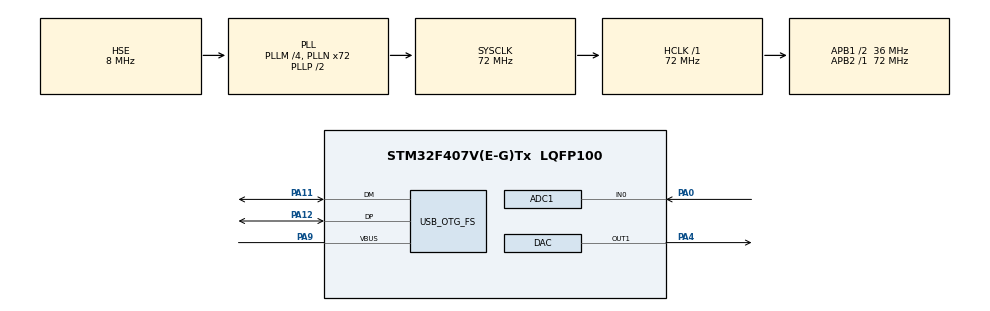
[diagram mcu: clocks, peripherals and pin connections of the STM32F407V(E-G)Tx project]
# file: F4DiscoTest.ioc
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ADC1.Channel-0\#ChannelRegularConversion=ADC_CHANNEL_0
ADC1.ClockPrescaler=ADC_CLOCK_SYNC_PCLK_DIV8
ADC1.ContinuousConvMode=DISABLE
ADC1.DMAContinuousRequests=ENABLE
ADC1.EOCSelection=ADC_EOC_SEQ_CONV
ADC1.ExternalTrigConv=ADC_EXTERNALTRIGCONV_T8_TRGO
ADC1.NbrOfConversion=1
ADC1.NbrOfConversionFlag=1
ADC1.Rank-0\#ChannelRegularConversion=1
ADC1.SamplingTime-0\#ChannelRegularConversion=ADC_SAMPLETIME_3CYCLES
ADC1.master=1
Dma.ADC1.0.Direction=DMA_PERIPH_TO_MEMORY
Dma.ADC1.0.FIFOMode=DMA_FIFOMODE_DISABLE
Dma.ADC1.0.Instance=DMA2_Stream0
Dma.ADC1.0.MemDataAlignment=DMA_MDATAALIGN_HALFWORD
Dma.ADC1.0.MemInc=DMA_MINC_ENABLE
Dma.ADC1.0.Mode=DMA_CIRCULAR
Dma.ADC1.0.PeriphDataAlignment=DMA_PDATAALIGN_HALFWORD
Dma.ADC1.0.PeriphInc=DMA_PINC_DISABLE
Dma.ADC1.0.Priority=DMA_PRIORITY_LOW
Dma.Request0=ADC1
Mcu.Family=STM32F4
Mcu.Name=STM32F407V(E-G)Tx
Mcu.Package=LQFP100
Mcu.UserConstants=USER_ADC_BUFFER_SIZE,100;USE_LL_DRIVER,1
NVIC.DMA2_Stream0_IRQn=true\:0\:0\:false\:false\:true\:false\:true
NVIC.OTG_FS_IRQn=true\:0\:0\:false\:false\:true\:true\:true
NVIC.PriorityGroup=NVIC_PRIORITYGROUP_0
NVIC.TIM7_IRQn=true\:0\:0\:false\:false\:true\:true\:true
PA0-WKUP.Signal=ADCx_IN0
PA11.Mode=Device_Only
PA11.Signal=USB_OTG_FS_DM
PA12.Mode=Device_Only
PA12.Signal=USB_OTG_FS_DP
PA13.Mode=Trace_Asynchronous_SW
PA13.Signal=SYS_JTMS-SWDIO
PA14.Mode=Trace_Asynchronous_SW
PA14.Signal=SYS_JTCK-SWCLK
PA4.Signal=COMP_DAC1_group
PA9.Mode=Activate_VBUS
PA9.Signal=USB_OTG_FS_VBUS
PB3.Mode=Trace_Asynchronous_SW
PB3.Signal=SYS_JTDO-SWO
PH0-OSC_IN.Mode=HSE-External-Oscillator
PH0-OSC_IN.Signal=RCC_OSC_IN
PH1-OSC_OUT.Mode=HSE-External-Oscillator
PH1-OSC_OUT.Signal=RCC_OSC_OUT
ProjectManager.HeapSize=0x1000
ProjectManager.StackSize=0x1000
ProjectManager.TargetToolchain=MDK-ARM V5
RCC.48MHZClocksFreq_Value=48000000
RCC.AHBFreq_Value=72000000
RCC.APB1CLKDivider=RCC_HCLK_DIV2
RCC.APB1Freq_Value=36000000
RCC.APB1TimFreq_Value=72000000
RCC.APB2Freq_Value=72000000
RCC.APB2TimFreq_Value=72000000
RCC.CortexFreq_Value=72000000
RCC.HCLKFreq_Value=72000000
RCC.HSE_VALUE=8000000
RCC.HSI_VALUE=16000000
RCC.LSE_VALUE=32768
RCC.PLLM=4
RCC.PLLN=72
RCC.PLLQ=3
RCC.SYSCLKFreq_VALUE=72000000
RCC.SYSCLKSource=RCC_SYSCLKSOURCE_PLLCLK
RCC.VCOOutputFreq_Value=144000000
SH.ADCx_IN0.0=ADC1_IN0,IN0
SH.COMP_DAC1_group.0=DAC_OUT1,DAC_OUT1
TIM7.AutoReloadPreload=TIM_AUTORELOAD_PRELOAD_ENABLE
TIM7.Period=10000
TIM7.Prescaler=7200
TIM8.AutoReloadPreload=TIM_AUTORELOAD_PRELOAD_ENABLE
TIM8.Period=100
TIM8.Prescaler=72
TIM8.TIM_MasterOutputTrigger=TIM_TRGO_UPDATE
USB_DEVICE.CLASS_NAME_FS=CDC
USB_DEVICE.USBD_DEBUG_LEVEL-CDC_FS=3
USB_DEVICE.VirtualMode-CDC_FS=Cdc
USB_DEVICE.VirtualModeFS=Cdc_FS
USB_OTG_FS.VirtualMode=Device_Only
VP_TIM7_VS_ClockSourceINT.Mode=Enable_Timer
VP_TIM8_VS_ClockSourceINT.Mode=Internal
VP_USB_DEVICE_VS_USB_DEVICE_CDC_FS.Mode=CDC_FS
board=STM32F4DISCOVERY

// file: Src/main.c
/* USER CODE BEGIN Header */
/**
  ******************************************************************************
  * @file           : main.c
  * @brief          : Main program body
  ******************************************************************************
  * @attention
  *
  * <h2><center>&copy; Copyright (c) 2019 STMicroelectronics.
  * All rights reserved.</center></h2>
  *
  * This software component is licensed by ST under Ultimate Liberty license
  * SLA0044, the "License"; You may not use this file except in compliance with
  * the License. You may obtain a copy of the License at:
  *                             www.st.com/SLA0044
  *
  ******************************************************************************
  */
/* USER CODE END Header */

#include "main.h"
#include "usb_device.h"

/* USER CODE BEGIN Includes */
#include <ctype.h>
#include <stdio.h>

#include "usbd_cdc_if.h"

#ifdef USE_LL_DRIVER
#include "stm32f4xx_ll_adc.h"
#include "stm32f4xx_ll_dac.h"
#endif
/* USER CODE END Includes */

/* USER CODE BEGIN PD */
#ifndef USER_ADC_BUFFER_SIZE
#error  USER_ADC_BUFFER_SIZE macro is not defined in STM32CubeMX project file
#endif
/* USER CODE END PD */

ADC_HandleTypeDef hadc1;
DMA_HandleTypeDef hdma_adc1;

DAC_HandleTypeDef hdac;

TIM_HandleTypeDef htim7;
TIM_HandleTypeDef htim8;

/* USER CODE BEGIN PV */

/** Значения АЦП (два буфера ПДП) */
static uint16_t USER_ADC_Buffer[2 * USER_ADC_BUFFER_SIZE];

/** Накопленная сумма вторичного усреднения */
static uint32_t USER_ADC_Summa = 0;

/** Количество значений вторичного усреднения */
static uint32_t USER_ADC_Count = 0;

/* USER CODE END PV */

void SystemClock_Config(void);
static void MX_GPIO_Init(void);
static void MX_DMA_Init(void);
static void MX_ADC1_Init(void);
static void MX_DAC_Init(void);
static void MX_TIM7_Init(void);
static void MX_TIM8_Init(void);
/* USER CODE BEGIN PFP */
#ifdef USE_LL_DRIVER
static void USER_DMAConvCplt(DMA_HandleTypeDef *hdma);
static void USER_DMAHalfConvCplt(DMA_HandleTypeDef *hdma);
#endif
/* USER CODE END PFP */

/**
  * @brief  Основная функция программы
  * @retval Без возврата
  */
int main(void)
{

  /* MCU Configuration--------------------------------------------------------*/

  /* Reset of all peripherals, Initializes the Flash interface and the Systick. */
  HAL_Init();

  /* Configure the system clock */
  SystemClock_Config();

  /* Initialize all configured peripherals */
  MX_GPIO_Init();
  MX_DMA_Init();
  MX_USB_DEVICE_Init();
  MX_ADC1_Init();
  MX_DAC_Init();
  MX_TIM7_Init();
  MX_TIM8_Init();
  /* USER CODE BEGIN 2 */
#ifdef USE_LL_DRIVER
	/* Запуск работы АЦП и ЦАП с использованием функций нижнего уровня */

  /* Enable the ADC peripheral */
	LL_ADC_Enable(ADC1);

  /* Enable ADC DMA mode */
	LL_ADC_REG_SetDMATransfer(ADC1, LL_ADC_REG_DMA_TRANSFER_UNLIMITED);

  /* Delay for ADC stabilization time */
  HAL_Delay(1);

  /* Set the DMA transfer complete callback */
  hdma_adc1.XferCpltCallback = USER_DMAConvCplt;

  /* Set the DMA half transfer complete callback */
  hdma_adc1.XferHalfCpltCallback = USER_DMAHalfConvCplt;

  /* Start the DMA channel for regular ADC channel with double-sized buffer */
  HAL_DMA_Start_IT(&hdma_adc1, LL_ADC_DMA_GetRegAddr(ADC1, LL_ADC_DMA_REG_REGULAR_DATA), (uint32_t)USER_ADC_Buffer, 2 * USER_ADC_BUFFER_SIZE);

  /* Enable the DAC peripheral */
	LL_DAC_Enable(DAC1, DAC_CHANNEL_1);

	fprintf(stderr, "ADC1 channel 0 and DAC1 channel 1, started via LL\r\n");
#else
	/* Запуск работы АЦП и ЦАП с использованием функций уровня абстракции периферии */

  HAL_ADC_Start_DMA(&hadc1, (uint32_t *)USER_ADC_Buffer, 2 * USER_ADC_BUFFER_SIZE);
	HAL_DAC_Start(&hdac, DAC_CHANNEL_1);

	fprintf(stderr, "ADC1 Channel 0 and DAC1 channel 1, started via HAL\r\n");
#endif
  /* USER CODE END 2 */

  /* Infinite loop */
  /* USER CODE BEGIN WHILE */

	/* Включаем генерацию запросов преобразования */
  HAL_TIM_Base_Start(&htim8);

  /* Ждем окончания первого вторичного усреднения */
  HAL_Delay(1000);

  /* Включаем периодический вывод на консоль */
  HAL_TIM_Base_Start_IT(&htim7);

  while (1)
  {
    /* USER CODE END WHILE */

    /* USER CODE BEGIN 3 */
    HAL_Delay(5000); // Ждем 5 секунд, т.к. больше все-равно нечего делать.
  }
  /* USER CODE END 3 */
}

void SystemClock_Config(void)
{
  RCC_OscInitTypeDef RCC_OscInitStruct = {0};
  RCC_ClkInitTypeDef RCC_ClkInitStruct = {0};

  /** Configure the main internal regulator output voltage
  */
  __HAL_RCC_PWR_CLK_ENABLE();
  __HAL_PWR_VOLTAGESCALING_CONFIG(PWR_REGULATOR_VOLTAGE_SCALE1);
  /** Initializes the CPU, AHB and APB busses clocks
  */
  RCC_OscInitStruct.OscillatorType = RCC_OSCILLATORTYPE_HSE;
  RCC_OscInitStruct.HSEState = RCC_HSE_ON;
  RCC_OscInitStruct.PLL.PLLState = RCC_PLL_ON;
  RCC_OscInitStruct.PLL.PLLSource = RCC_PLLSOURCE_HSE;
  RCC_OscInitStruct.PLL.PLLM = 4;
  RCC_OscInitStruct.PLL.PLLN = 72;
  RCC_OscInitStruct.PLL.PLLP = RCC_PLLP_DIV2;
  RCC_OscInitStruct.PLL.PLLQ = 3;
  if (HAL_RCC_OscConfig(&RCC_OscInitStruct) != HAL_OK)
  {
    Error_Handler();
  }
  /** Initializes the CPU, AHB and APB busses clocks
  */
  RCC_ClkInitStruct.ClockType = RCC_CLOCKTYPE_HCLK|RCC_CLOCKTYPE_SYSCLK
                              |RCC_CLOCKTYPE_PCLK1|RCC_CLOCKTYPE_PCLK2;
  RCC_ClkInitStruct.SYSCLKSource = RCC_SYSCLKSOURCE_PLLCLK;
  RCC_ClkInitStruct.AHBCLKDivider = RCC_SYSCLK_DIV1;
  RCC_ClkInitStruct.APB1CLKDivider = RCC_HCLK_DIV2;
  RCC_ClkInitStruct.APB2CLKDivider = RCC_HCLK_DIV1;

  if (HAL_RCC_ClockConfig(&RCC_ClkInitStruct, FLASH_LATENCY_2) != HAL_OK)
  {
    Error_Handler();
  }
}

static void MX_ADC1_Init(void)
{

  ADC_ChannelConfTypeDef sConfig = {0};

  /** Configure the global features of the ADC (Clock, Resolution, Data Alignment and number of conversion)
  */
  hadc1.Instance = ADC1;
  hadc1.Init.ClockPrescaler = ADC_CLOCK_SYNC_PCLK_DIV8;
  hadc1.Init.Resolution = ADC_RESOLUTION_12B;
  hadc1.Init.ScanConvMode = DISABLE;
  hadc1.Init.ContinuousConvMode = DISABLE;
  hadc1.Init.DiscontinuousConvMode = DISABLE;
  hadc1.Init.ExternalTrigConvEdge = ADC_EXTERNALTRIGCONVEDGE_RISING;
  hadc1.Init.ExternalTrigConv = ADC_EXTERNALTRIGCONV_T8_TRGO;
  hadc1.Init.DataAlign = ADC_DATAALIGN_RIGHT;
  hadc1.Init.NbrOfConversion = 1;
  hadc1.Init.DMAContinuousRequests = ENABLE;
  hadc1.Init.EOCSelection = ADC_EOC_SEQ_CONV;
  if (HAL_ADC_Init(&hadc1) != HAL_OK)
  {
    Error_Handler();
  }
  /** Configure for the selected ADC regular channel its corresponding rank in the sequencer and its sample time.
  */
  sConfig.Channel = ADC_CHANNEL_0;
  sConfig.Rank = 1;
  sConfig.SamplingTime = ADC_SAMPLETIME_3CYCLES;
  if (HAL_ADC_ConfigChannel(&hadc1, &sConfig) != HAL_OK)
  {
    Error_Handler();
  }

}

static void MX_DAC_Init(void)
{

  DAC_ChannelConfTypeDef sConfig = {0};

  /** DAC Initialization
  */
  hdac.Instance = DAC;
  if (HAL_DAC_Init(&hdac) != HAL_OK)
  {
    Error_Handler();
  }
  /** DAC channel OUT1 config
  */
  sConfig.DAC_Trigger = DAC_TRIGGER_NONE;
  sConfig.DAC_OutputBuffer = DAC_OUTPUTBUFFER_ENABLE;
  if (HAL_DAC_ConfigChannel(&hdac, &sConfig, DAC_CHANNEL_1) != HAL_OK)
  {
    Error_Handler();
  }

}

static void MX_TIM7_Init(void)
{

  TIM_MasterConfigTypeDef sMasterConfig = {0};

  htim7.Instance = TIM7;
  htim7.Init.Prescaler = 7200;
  htim7.Init.CounterMode = TIM_COUNTERMODE_UP;
  htim7.Init.Period = 10000;
  htim7.Init.AutoReloadPreload = TIM_AUTORELOAD_PRELOAD_ENABLE;
  if (HAL_TIM_Base_Init(&htim7) != HAL_OK)
  {
    Error_Handler();
  }
  sMasterConfig.MasterOutputTrigger = TIM_TRGO_RESET;
  sMasterConfig.MasterSlaveMode = TIM_MASTERSLAVEMODE_DISABLE;
  if (HAL_TIMEx_MasterConfigSynchronization(&htim7, &sMasterConfig) != HAL_OK)
  {
    Error_Handler();
  }

}

static void MX_TIM8_Init(void)
{

  TIM_ClockConfigTypeDef sClockSourceConfig = {0};
  TIM_MasterConfigTypeDef sMasterConfig = {0};

  htim8.Instance = TIM8;
  htim8.Init.Prescaler = 72;
  htim8.Init.CounterMode = TIM_COUNTERMODE_UP;
  htim8.Init.Period = 100;
  htim8.Init.ClockDivision = TIM_CLOCKDIVISION_DIV1;
  htim8.Init.RepetitionCounter = 0;
  htim8.Init.AutoReloadPreload = TIM_AUTORELOAD_PRELOAD_ENABLE;
  if (HAL_TIM_Base_Init(&htim8) != HAL_OK)
  {
    Error_Handler();
  }
  sClockSourceConfig.ClockSource = TIM_CLOCKSOURCE_INTERNAL;
  if (HAL_TIM_ConfigClockSource(&htim8, &sClockSourceConfig) != HAL_OK)
  {
    Error_Handler();
  }
  sMasterConfig.MasterOutputTrigger = TIM_TRGO_UPDATE;
  sMasterConfig.MasterSlaveMode = TIM_MASTERSLAVEMODE_DISABLE;
  if (HAL_TIMEx_MasterConfigSynchronization(&htim8, &sMasterConfig) != HAL_OK)
  {
    Error_Handler();
  }

}

static void MX_DMA_Init(void)
{
  /* DMA controller clock enable */
  __HAL_RCC_DMA2_CLK_ENABLE();

  /* DMA interrupt init */
  /* DMA2_Stream0_IRQn interrupt configuration */
  HAL_NVIC_SetPriority(DMA2_Stream0_IRQn, 0, 0);
  HAL_NVIC_EnableIRQ(DMA2_Stream0_IRQn);

}

static void MX_GPIO_Init(void)
{

  /* GPIO Ports Clock Enable */
  __HAL_RCC_GPIOH_CLK_ENABLE();
  __HAL_RCC_GPIOA_CLK_ENABLE();
  __HAL_RCC_GPIOB_CLK_ENABLE();

}

/* USER CODE BEGIN 4 */
/**
  * @brief Усреднение данных в принятом буфере.
  *
  * Вычисляет среднее значение и добавляет его к сумме вторичного усреднения.
  *
  * @param Указатель на буфер
  * @retval Среднее значение
  */
static uint16_t USER_ADC_ProcessData(const uint16_t *data)
{
	int i;
	uint32_t sum = 0;
	uint16_t average;

	// Суммируем

	for (i = 0; i < USER_ADC_BUFFER_SIZE; i++)
	{
		sum += (uint32_t) *data++;
	}

	average = sum / USER_ADC_BUFFER_SIZE;

	// Добавляем к сумме вторичного усреднения

	USER_ADC_Summa += average;
	USER_ADC_Count ++;

	return average;
}

#ifdef USE_LL_DRIVER
/**
  * @brief  Функция обратного вызова ПДП (для первой половины буфера).
  *
  * Данная функция вызывается модулем HAL_DMA при заполнении первой половины буфера АЦП.
  * Осуществляет вычисление среднего значения с АЦП и его загрузку в ЦАП.
  *
  * @param  Указатель на дескриптор канала ПДП
  * @retval Нет
  */
static void USER_DMAHalfConvCplt(DMA_HandleTypeDef *hdma)
{
  if (hdma == &hdma_adc1)
	{
		uint16_t average = USER_ADC_ProcessData(USER_ADC_Buffer);
		LL_DAC_ConvertData12RightAligned(DAC1, LL_DAC_CHANNEL_1, average);
	}
	else
	{
		fprintf(stderr, "USER_DMAHalfConvCplt() called unexpected !!!\r\n");
	}
}

/**
  * @brief  Функция обратного вызова ПДП (для второй половины буфера).
  *
  * Данная функция вызывается модулем HAL_DMA при заполнении второй половины буфера АЦП.
  * Осуществляет вычисление среднего значения с АЦП и его загрузку в ЦАП.
  *
  * @param  Указатель на дескриптор канала ПДП
  * @retval Нет
  */
static void USER_DMAConvCplt(DMA_HandleTypeDef *hdma)
{
  if (hdma == &hdma_adc1)
	{
		uint16_t average = USER_ADC_ProcessData(&USER_ADC_Buffer[USER_ADC_BUFFER_SIZE]);
		LL_DAC_ConvertData12RightAligned(DAC1, LL_DAC_CHANNEL_1, average);
	}
	else
	{
		fprintf(stderr, "USER_DMAConvCplt() called unexpected !!!\r\n");
	}
}

#else /* USE_LL_DRIVER */
/**
  * @brief  Функция обратного вызова АЦП (для первой половины буфера).
  *
  * Данная функция вызывается модулем HAL_ADC при заполнении первой половины буфера АЦП.
  * Осуществляет вычисление среднего значения с АЦП и его загрузку в ЦАП.
  *
  * @param  Указатель на дескриптор АЦП
  * @retval Нет
  */
void HAL_ADC_ConvHalfCpltCallback(ADC_HandleTypeDef* hadc)
{
  if (hadc == &hadc1)
	{
		uint16_t average = USER_ADC_ProcessData(USER_ADC_Buffer);
		HAL_DAC_SetValue(&hdac, DAC_CHANNEL_1, DAC_ALIGN_12B_R, average);
	}
	else
	{
		fprintf(stderr, "HAL_ADC_ConvHalfCpltCallback() called unexpected !!!\r\n");
	}
}

/**
  * @brief  Функция обратного вызова АЦП (для второй половины буфера).
  *
  * Данная функция вызывается модулем HAL_ADC при заполнении второй половины буфера АЦП.
  * Осуществляет вычисление среднего значения с АЦП и его загрузку в ЦАП.
  *
  * @param  Указатель на дескриптор АЦП
  * @retval Нет
  */
void HAL_ADC_ConvCpltCallback(ADC_HandleTypeDef* hadc)
{
  if (hadc == &hadc1)
	{
		uint16_t average = USER_ADC_ProcessData(&USER_ADC_Buffer[USER_ADC_BUFFER_SIZE]);
		HAL_DAC_SetValue(&hdac, DAC_CHANNEL_1, DAC_ALIGN_12B_R, average);
	}
	else
	{
		fprintf(stderr, "HAL_ADC_ConvCpltCallback() called unexpected !!!\r\n");
	}
}

#endif /* USE_LL_DRIVER */

/**
  * @brief  Функция периодического таймера.
  *
  * Данная функция вызывается раз в секунду для вывода среднего значения.
  *
  * @param  Указатель на дескриптор сработавшего таймера
  * @retval Нет
  */
void HAL_TIM_PeriodElapsedCallback(TIM_HandleTypeDef *htim)
{
  if (htim == &htim7)
	{
		if (USER_ADC_Count > 0)
		{
			// Завершаем вторичное усреднение

			uint16_t average = USER_ADC_Summa / USER_ADC_Count;
			uint16_t average_mv = 3300u * average / 4096u;       // Считаем, что Vref+ = 3.3 V

			fprintf(stderr, "Average from %u values is %u (%u mV)\r\n", USER_ADC_Count, average, average_mv);

			// Печатаем результат

			printf("%4u mV\r", average_mv);
		}
		else
		{
			fprintf(stderr, "Internal error: no enought conversions made !!!\r\n");
		}

		// Начинаем новое вторичное усреднение

		USER_ADC_Summa = USER_ADC_Count = 0;
	}
  else
	{
		fprintf(stderr, "HAL_TIM_PeriodElapsedCallback() called unexpected !!!\r\n");
	}
}

/**
  * @brief  Вывод символа из стандартного потока в последовательный порт.
  *
  * Данная функция вызывается из стандартной библиотеки ввода-вывода (stdio)
  * для каждого символа, передаваемого в поток stdout. Функция осуществляет
  * буферизацию передаваемых данных до 126 символов или до получения одного
  * из символов конца строки (CR or LF) и передачу буфера через виртуальный
  * последовательный порт.
  *
  * @param  Выводимый символ
  * @retval Выводимый символ (копия входного значения)
  */
int stdout_putchar(int ch)
{
#if 1
	static int     buflen = 0;  // длина строки
	static uint8_t buffer[128]; // буфер строки

	if (isprint(ch))
	{
		// добавляем в буфер вывода
		buffer[buflen++] = (uint8_t) ch;

		if (buflen >= sizeof(buffer) - 2)
		{
			// сброс буфера по заполнению
			CDC_Transmit_FS(buffer, buflen);
			buflen = 0;
		}
	}
	else if (ch == '\n' || ch == '\r')
	{
		buffer[buflen++] = (uint8_t) ch;

		// сброс буфера по переводу строки
		CDC_Transmit_FS(buffer, buflen);
		buflen = 0;
	}
#else
  uint8_t bt = (uint8_t) ch;
  HAL_UART_Transmit(&huart2, &bt, 1, 1); // timeout = 1 ms
#endif
  return ch;
}

/* USER CODE END 4 */

void Error_Handler(void)
{
}

#ifdef  USE_FULL_ASSERT
/**
  * @brief  Reports the name of the source file and the source line number
  *         where the assert_param error has occurred.
  * @param  file: pointer to the source file name
  * @param  line: assert_param error line source number
  * @retval None
  */
void assert_failed(uint8_t *file, uint32_t line)
{
  /* USER CODE BEGIN 6 */
  fprintf(stderr, "Wrong parameter's value in file %s on line %u\r\n", file, line);
  /* USER CODE END 6 */
}
#endif /* USE_FULL_ASSERT */

/************************ (C) COPYRIGHT STMicroelectronics *****END OF FILE****/
